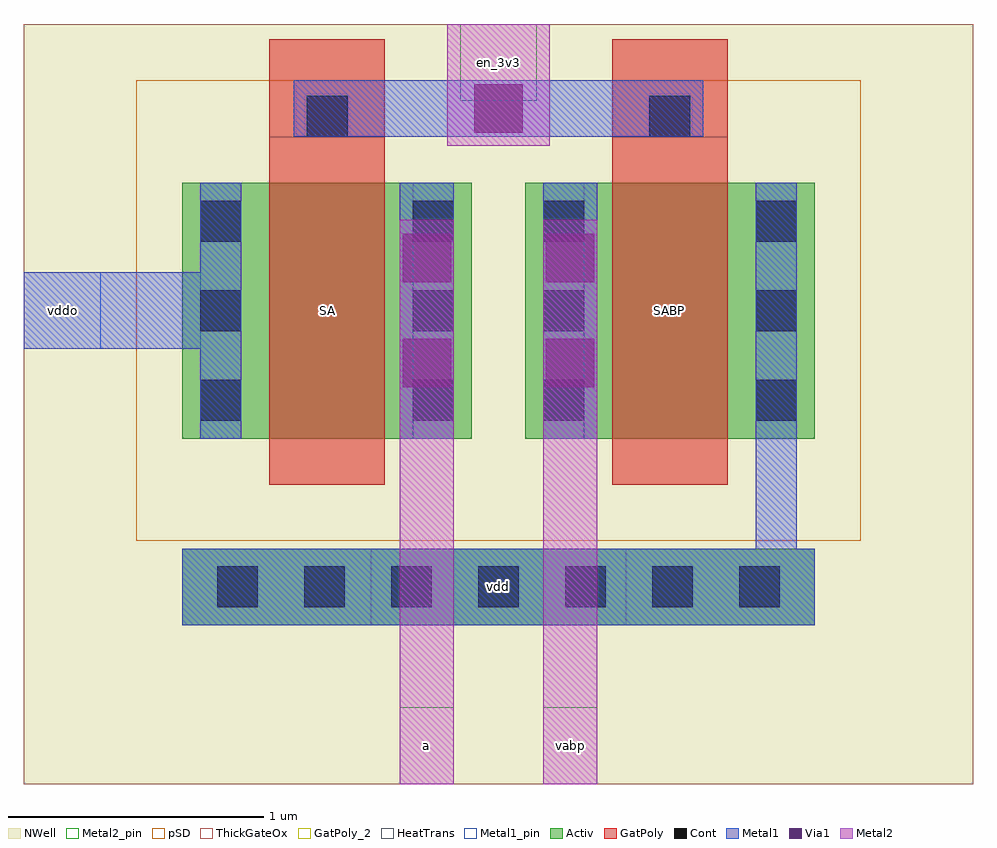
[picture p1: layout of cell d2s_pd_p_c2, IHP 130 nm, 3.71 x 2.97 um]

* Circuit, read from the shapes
.subckt d2s_pd_p_c2 a en_3v3 vabp vdd vddo
XM1 a en_3v3 vddo vdd sg13_hv_pmos w=1u l=0.45u
XM2 vdd en_3v3 vabp vdd sg13_hv_pmos w=1u l=0.45u
.ends

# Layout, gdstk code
from math import pi, radians
import gdstk
lib = gdstk.Library(unit=1e-6, precision=1e-09)
def R(c, l, rs):  # rectangles x0, y0, x1, y1
    for r in rs: c.add(gdstk.rectangle(r[:2], r[2:], *l))
def A(c, l, x, y, w, h, nx, ny, dx, dy):  # array of equal rectangles
    R(c, l, [(x+i*dx, y+j*dy, x+i*dx+w, y+j*dy+h) for i in range(nx) for j in range(ny)])
Activ = (1, 0)
GatPoly = (5, 0)
GatPoly_2 = (5, 2)
Cont = (6, 0)
Metal1 = (8, 0)
Metal1_pin = (8, 2)
Metal2 = (10, 0)
Metal2_pin = (10, 2)
pSD = (14, 0)
Via1 = (19, 0)
NWell = (31, 0)
ThickGateOx = (44, 0)
HeatTrans = (51, 0)

pmoshv_w1_l0p45 = lib.new_cell('pmosHV_w1_l0p45')
R(pmoshv_w1_l0p45, Activ, [(0,0,0.3,0.3), (0,0,1.13,1), (0.83,0,1.13,0.3)])
R(pmoshv_w1_l0p45, GatPoly, [(0.34,-0.18,0.79,1.18)])
R(pmoshv_w1_l0p45, GatPoly_2, [(0.34,-0.18,0.79,1.18)])
A(pmoshv_w1_l0p45, Cont, 0.07, 0.07, 0.16, 0.16, 1, 3, 0, 0.35)
A(pmoshv_w1_l0p45, Cont, 0.9, 0.07, 0.16, 0.16, 1, 3, 0, 0.35)
R(pmoshv_w1_l0p45, Metal1, [(0.07,0,0.23,1), (0.9,0,1.06,1)])
R(pmoshv_w1_l0p45, Metal1_pin, [(0.07,0,0.23,1), (0.9,0,1.06,1)])
R(pmoshv_w1_l0p45, pSD, [(-0.18,-0.4,1.31,1.4)])
R(pmoshv_w1_l0p45, NWell, [(-0.62,-0.62,1.75,1.62)])
R(pmoshv_w1_l0p45, ThickGateOx, [(-0.62,-0.62,1.75,1.62)])
R(pmoshv_w1_l0p45, HeatTrans, [(0.34,-0.18,0.79,1.18)])
pmoshv_w1_l0p45.add(gdstk.Label('pmosHV', (0.565,0.5), layer=63, texttype=0))
pmoshv_w1_l0p45.add(gdstk.Label('pmos', (0.565,0.5), layer=51, texttype=0))

d2s_pd_p_c2 = lib.new_cell('d2s_pd_p_c2')
R(d2s_pd_p_c2, Activ, [(0.62,0.62,3.09,0.92)])
R(d2s_pd_p_c2, GatPoly, [(0.96,2.35,1.41,2.91), (2.3,2.35,2.75,2.91)])
A(d2s_pd_p_c2, Cont, 0.755, 0.69, 0.16, 0.16, 7, 1, 0.34, 0)
R(d2s_pd_p_c2, Cont, [(1.105,2.53,1.265,2.69), (2.445,2.53,2.605,2.69)])
R(d2s_pd_p_c2, Metal1, [(0.62,0.62,3.09,0.92), (2.86,0.62,3.02,1.35), (1.47,1.35,1.68,2.35), (2.03,1.35,2.24,2.35), (0,1.7,0.85,2), (1.055,2.53,2.655,2.75)])
R(d2s_pd_p_c2, Metal1_pin, [(1.355,0.62,2.355,0.92), (0,1.7,0.3,2)])
R(d2s_pd_p_c2, Metal2, [(1.47,0,1.68,2.205), (2.03,0,2.24,2.205), (1.655,2.495,2.055,2.97)])
R(d2s_pd_p_c2, Metal2_pin, [(1.47,0,1.68,0.3), (2.03,0,2.24,0.3), (1.705,2.67,2.005,2.97)])
R(d2s_pd_p_c2, Via1, [(1.48,1.55,1.67,1.74), (2.04,1.55,2.23,1.74), (1.48,1.96,1.67,2.15), (2.04,1.96,2.23,2.15), (1.76,2.545,1.95,2.735)])
R(d2s_pd_p_c2, NWell, [(0,0,3.71,2.97)])
R(d2s_pd_p_c2, ThickGateOx, [(0,0,3.71,2.97)])
d2s_pd_p_c2.add(gdstk.Reference(pmoshv_w1_l0p45, (0.62,1.35)))
d2s_pd_p_c2.add(gdstk.Reference(pmoshv_w1_l0p45, (3.09,1.35), rotation=pi, x_reflection=True))
d2s_pd_p_c2.add(gdstk.Label('vddo', (0.15,1.85), layer=8, texttype=25))
d2s_pd_p_c2.add(gdstk.Label('vdd', (1.855,0.77), layer=8, texttype=25))
d2s_pd_p_c2.add(gdstk.Label('en_3v3', (1.855,2.82), layer=10, texttype=25))
d2s_pd_p_c2.add(gdstk.Label('a', (1.575,0.15), layer=10, texttype=25))
d2s_pd_p_c2.add(gdstk.Label('vabp', (2.135,0.15), layer=10, texttype=25))
d2s_pd_p_c2.add(gdstk.Label('SA', (1.185,1.85), layer=63, texttype=0))
d2s_pd_p_c2.add(gdstk.Label('SABP', (2.525,1.85), layer=63, texttype=0))

lib.write_gds('d2s_pd_p_c2.gds')
